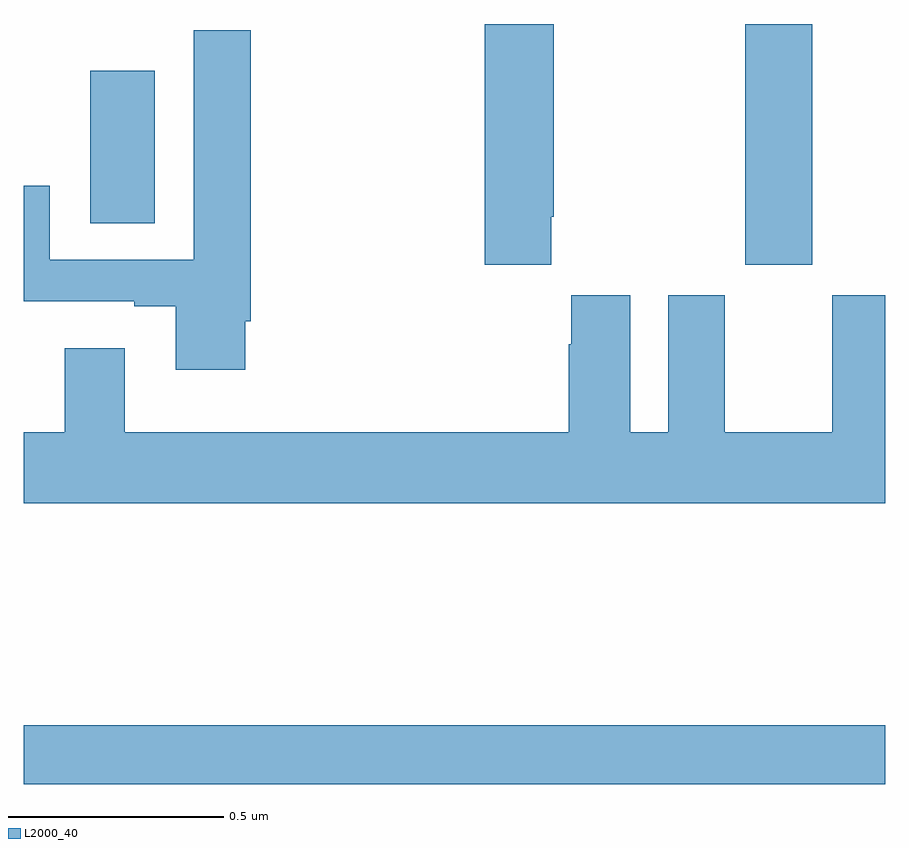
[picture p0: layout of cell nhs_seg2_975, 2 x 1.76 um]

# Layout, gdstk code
import gdstk
lib = gdstk.Library(unit=1e-6, precision=1e-09)
def R(c, l, rs):  # rectangles x0, y0, x1, y1
    for r in rs: c.add(gdstk.rectangle(r[:2], r[2:], *l))
def P(c, l, *ps):  # polygons
    for p in ps: c.add(gdstk.Polygon(p, *l))
L2000_40 = (2000, 40)

nhs_seg2_975 = lib.new_cell('nhs_seg2_975')
R(nhs_seg2_975, L2000_40, [(123,595.036,125,595.172), (124.675,596.241,124.83,596.8), (123.155,596.338,123.304,596.692)])
P(nhs_seg2_975, L2000_40, [(124.225,596.353),(124.23,596.353),(124.23,596.8),(124.07,596.8),(124.07,596.241),(124.225,596.241)],
  [(123.514,596.11),(123.527,596.11),(123.527,596.785),(123.395,596.785),(123.395,596.253),(123.061,596.253),(123.061,596.425),(123,596.425),(123,596.157),(123.257,596.157),(123.257,596.145),(123.353,596.145),(123.353,595.998),(123.514,595.998)],
  [(125,596.17),(124.877,596.17),(124.877,595.852),(124.627,595.852),(124.627,596.17),(124.496,596.17),(124.496,595.852),(124.408,595.852),(124.408,596.17),(124.271,596.17),(124.271,596.057),(124.265,596.057),(124.265,595.852),(123.235,595.852),(123.235,596.047),(123.095,596.047),(123.095,595.852),(123,595.852),(123,595.688),(125,595.688)])

lib.write_gds('nhs_seg2_975.gds')
